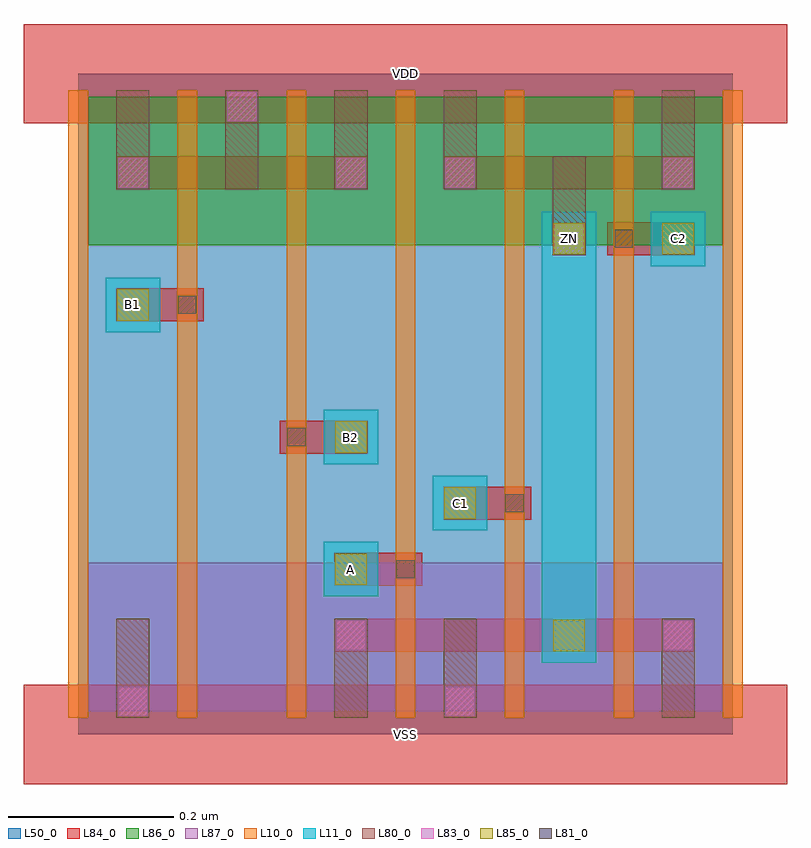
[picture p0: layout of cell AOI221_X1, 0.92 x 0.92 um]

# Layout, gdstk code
import gdstk
lib = gdstk.Library(unit=1e-6, precision=1e-09)
def R(c, l, rs):  # rectangles x0, y0, x1, y1
    for r in rs: c.add(gdstk.rectangle(r[:2], r[2:], *l))
def A(c, l, x, y, w, h, nx, ny, dx, dy):  # array of equal rectangles
    R(c, l, [(x+i*dx, y+j*dy, x+i*dx+w, y+j*dy+h) for i in range(nx) for j in range(ny)])
L10_0 = (10, 0)
L11_0 = (11, 0)
L50_0 = (50, 0)
L80_0 = (80, 0)
L81_0 = (81, 0)
L83_0 = (83, 0)
L84_0 = (84, 0)
L85_0 = (85, 0)
L86_0 = (86, 0)
L87_0 = (87, 0)

aoi221_x1 = lib.new_cell('AOI221_X1')
A(aoi221_x1, L10_0, -0.012, 0.02, 0.024, 0.76, 7, 1, 0.132, 0)
R(aoi221_x1, L11_0, [(0.561,0.087,0.627,0.633), (0.297,0.167,0.363,0.233), (0.429,0.247,0.495,0.313), (0.297,0.327,0.363,0.393), (0.033,0.487,0.099,0.553), (0.693,0.567,0.759,0.633)])
R(aoi221_x1, L50_0, [(0,0,0.792,0.8)])
A(aoi221_x1, L80_0, 0.046, 0.66, 0.04, 0.12, 4, 1, 0.132, 0)
R(aoi221_x1, L80_0, [(0.046,0.02,0.086,0.14), (0.31,0.02,0.35,0.14), (0.442,0.02,0.482,0.14), (0.706,0.02,0.746,0.14), (0.574,0.58,0.614,0.7), (0.706,0.66,0.746,0.78)])
R(aoi221_x1, L81_0, [(0.385,0.189,0.407,0.211), (0.517,0.269,0.539,0.291), (0.253,0.349,0.275,0.371), (0.121,0.509,0.143,0.531), (0.649,0.589,0.671,0.611)])
R(aoi221_x1, L83_0, [(0.048,0.022,0.084,0.058), (0.444,0.022,0.48,0.058), (0.312,0.102,0.348,0.138), (0.708,0.102,0.744,0.138), (0.576,0.582,0.612,0.618), (0.048,0.662,0.084,0.698), (0.312,0.662,0.348,0.698), (0.444,0.662,0.48,0.698), (0.708,0.662,0.744,0.698), (0.18,0.742,0.216,0.778)])
R(aoi221_x1, L84_0, [(-0.066,-0.06,0.858,0.06), (0.31,0.1,0.746,0.14), (0.31,0.18,0.416,0.22), (0.442,0.26,0.548,0.3), (0.244,0.34,0.35,0.38), (0.046,0.5,0.152,0.54), (0.574,0.58,0.614,0.62), (0.64,0.58,0.746,0.62), (0.046,0.66,0.35,0.7), (0.442,0.66,0.746,0.7), (-0.066,0.74,0.858,0.86)])
R(aoi221_x1, L85_0, [(0.575,0.101,0.613,0.139), (0.311,0.181,0.349,0.219), (0.443,0.261,0.481,0.299), (0.311,0.341,0.349,0.379), (0.047,0.501,0.085,0.539), (0.575,0.581,0.613,0.619), (0.707,0.581,0.745,0.619)])
R(aoi221_x1, L86_0, [(0.012,0.592,0.78,0.772)])
R(aoi221_x1, L87_0, [(0.012,0.028,0.78,0.208)])
aoi221_x1.add(gdstk.Label('VDD', (0.396,0.8), layer=88, texttype=0))
aoi221_x1.add(gdstk.Label('VSS', (0.396,0), layer=88, texttype=0))
aoi221_x1.add(gdstk.Label('ZN', (0.594,0.6), layer=31, texttype=0))
aoi221_x1.add(gdstk.Label('A', (0.33,0.2), layer=31, texttype=0))
aoi221_x1.add(gdstk.Label('B1', (0.066,0.52), layer=31, texttype=0))
aoi221_x1.add(gdstk.Label('C1', (0.462,0.28), layer=31, texttype=0))
aoi221_x1.add(gdstk.Label('B2', (0.33,0.36), layer=31, texttype=0))
aoi221_x1.add(gdstk.Label('C2', (0.726,0.6), layer=31, texttype=0))

lib.write_gds('AOI221_X1.gds')
